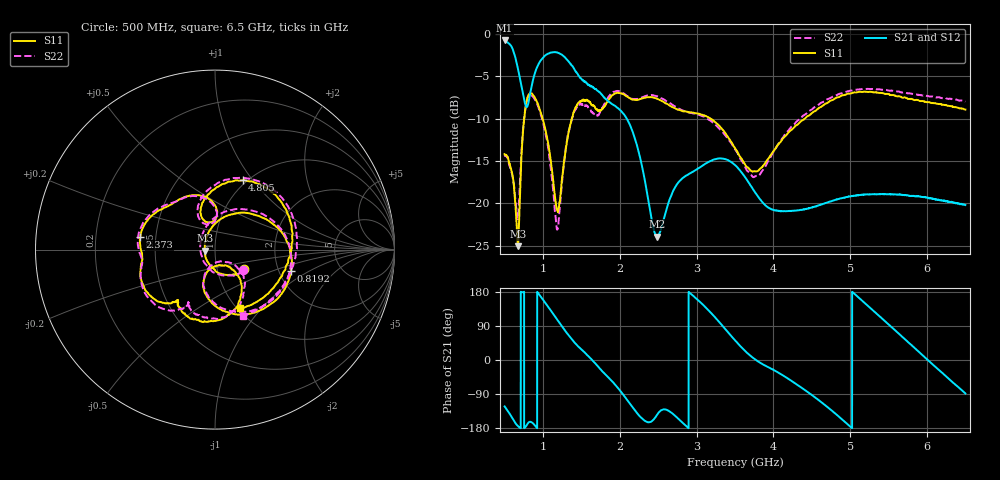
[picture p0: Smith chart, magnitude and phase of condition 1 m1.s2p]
# Hz S DB R 50
! CMT, S5065, 24347010, 24.3.4/3
! Date: 10/15/2024 11:50:03 AM
! Data: Format (Calibration Info)
! Freq	S11:dB/Ang(F2)	S21:dB/Ang(F2)	S12:dB/Ang(F2)	S22:dB/Ang(F2)
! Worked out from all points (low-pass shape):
!   10001 points, 500 MHz to 6.5 GHz, reference 50 ohm
!   highest |S21| = -0.81 dB at 500 MHz (marker M1); lowest = -23.9 dB at 2.484 GHz (marker M2)
!   |S21| within 3 dB of the highest: start of sweep to 665.3 MHz; 929.4 MHz to 1.379 GHz (450 MHz wide, 39 % of centre)
!   lowest |S11| = -25.0 dB at 672.2 MHz (marker M3), VSWR 1.12, Z = 44.7 - j0.613 ohm
!   |S11| at or under -10 dB: start of sweep to 754.7 MHz; 993.5 MHz to 1.377 GHz (383.1 MHz wide, 32.3 % of centre); 3.179 GHz to 4.41 GHz (1.231 GHz wide, 32.4 % of centre)
!   |S22| runs from -23.1 to -6.5 dB; largest |S21 - S12| = 0.0024
!   S11 on the Smith chart (normalised r, x): 500 MHz: 1.35, -0.30; 819.2 MHz: 2.33, -0.69; 2.373 GHz: 0.41, +0.07; 4.805 GHz: 0.96, +0.89; 6.5 GHz: 1.03, -0.77
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5e8  -14.19 -33.7  -0.81 -122.5  -0.81 -122.6  -14.27 -36.6
5.96e8  -16.38 -67.7  -1.64 -152.0  -1.64 -152.1  -16.50 -73.7
6.722e8  -25.03 -173.0  -4.08 -174.4  -4.08 -174.4  -21.79 -178.2
7.442e8  -10.96 44.8  -7.34 179.1  -7.35 179.0  -10.88 51.5
8.192e8  -7.12 -15.8  -7.75 -163.8  -7.75 -163.8  -7.30 -12.1
8.99e8  -7.63 -57.2  -4.53 -173.8  -4.53 -173.9  -7.83 -54.7
9.998e8  -10.19 -90.7  -2.83 159.2  -2.83 159.1  -10.47 -90.3
1.184e9  -20.80 -85.1  -2.22 106.9  -2.22 106.8  -23.03 -77.8
1.3286e9  -11.83 -54.2  -3.24 66.5  -3.23 66.5  -11.76 -49.9
1.5002e9  -7.94 -95.0  -5.34 27.9  -5.33 27.8  -8.35 -93.3
1.9508e9  -7.02 -147.3  -8.60 -67.9  -8.60 -68.0  -6.78 -143.8
2.1692e9  -7.79 -172.7  -11.58 -125.8  -11.58 -125.9  -7.71 -169.7
2.3732e9  -7.48 170.4  -19.77 -164.4  -19.77 -164.7  -7.27 172.9
2.4836e9  -7.66 158.5  -23.89 -145.0  -23.90 -145.4  -7.37 160.0
2.5004e9  -7.75 156.8  -23.81 -140.3  -23.84 -140.5  -7.42 158.3
2.807e9  -9.09 134.5  -17.11 -163.6  -17.13 -163.9  -9.00 133.0
3.5e9  -13.47 86.6  -15.46 52.0  -15.50 51.8  -13.63 87.2
3.8006e9  -16.15 104.1  -19.19 -3.9  -19.19 -4.1  -16.76 106.7
4.5002e9  -9.37 89.9  -20.48 -92.5  -20.49 -93.0  -8.93 90.6
4.805e9  -7.62 68.2  -19.59 -141.2  -19.61 -141.6  -7.32 67.8
5.5004e9  -7.13 11.2  -18.93 93.9  -18.94 93.4  -6.71 10.4
6.5e9  -8.95 -67.1  -20.17 -88.3  -20.20 -88.3  -8.01 -67.5
